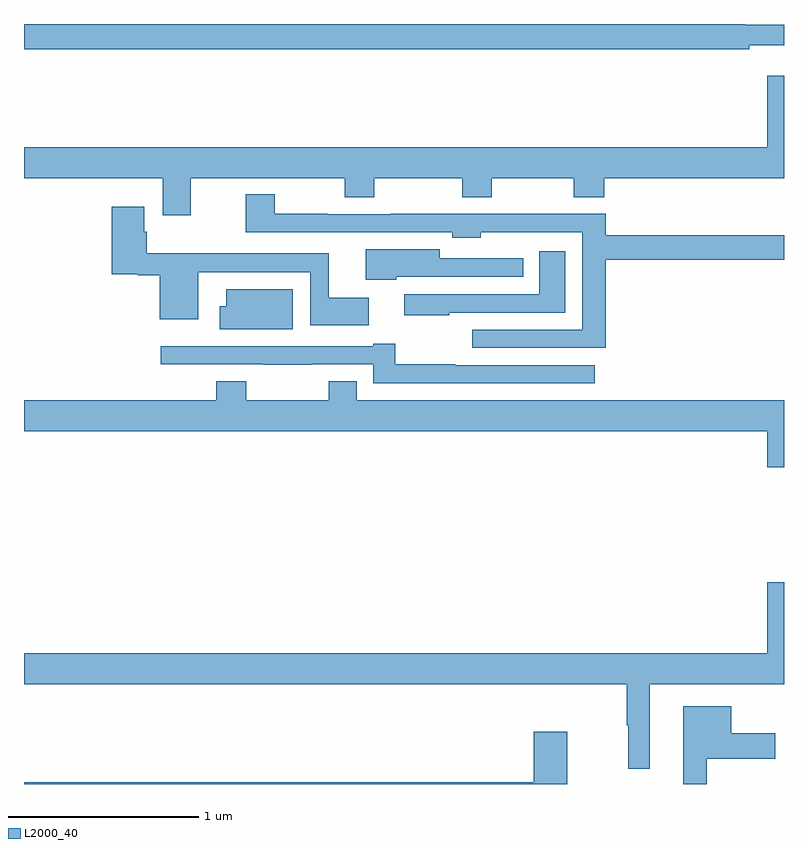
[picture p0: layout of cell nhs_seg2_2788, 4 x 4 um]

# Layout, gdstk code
import gdstk
lib = gdstk.Library(unit=1e-6, precision=1e-09)
def P(c, l, *ps):  # polygons
    for p in ps: c.add(gdstk.Polygon(p, *l))
L2000_40 = (2000, 40)

nhs_seg2_2788 = lib.new_cell('nhs_seg2_2788')
P(nhs_seg2_2788, L2000_40, [(260.816,629.687),(261,629.687),(261,629.797),(260.794,629.797),(260.794,629.8),(257,629.8),(257,629.668),(260.816,629.668)],
  [(257.877,628.988),(258.688,628.988),(258.688,628.889),(258.843,628.889),(258.843,628.988),(259.306,628.988),(259.306,628.889),(259.461,628.889),(259.461,628.988),(259.894,628.988),(259.894,628.889),(260.054,628.889),(260.054,628.988),(261,628.988),(261,629.527),(260.912,629.527),(260.912,629.152),(257,629.152),(257,628.988),(257.729,628.988),(257.729,628.794),(257.877,628.794)],
  [(260.063,628.558),(261,628.558),(261,628.687),(260.063,628.687),(260.063,628.802),(258.931,628.802),(258.931,628.8),(258.599,628.8),(258.599,628.802),(258.321,628.802),(258.321,628.903),(258.166,628.903),(258.166,628.704),(259.254,628.704),(259.254,628.676),(259.404,628.676),(259.404,628.703),(259.616,628.703),(259.616,628.704),(259.937,628.704),(259.937,628.191),(259.359,628.191),(259.359,628.095),(260.063,628.095)],
  [(258.814,628.36),(258.605,628.36),(258.605,628.594),(257.645,628.594),(257.645,628.706),(257.632,628.706),(257.632,628.837),(257.462,628.837),(257.462,628.484),(257.598,628.484),(257.598,628.477),(257.714,628.477),(257.714,628.247),(257.917,628.247),(257.917,628.493),(258.507,628.493),(258.507,628.214),(258.814,628.214)],
  [(258.96,628.47),(259.627,628.47),(259.627,628.566),(259.189,628.566),(259.189,628.615),(258.798,628.615),(258.798,628.455),(258.96,628.455)],
  [(259.237,628.281),(259.849,628.281),(259.849,628.603),(259.712,628.603),(259.712,628.377),(259.001,628.377),(259.001,628.268),(259.237,628.268)],
  [(258.415,628.405),(258.065,628.405),(258.065,628.315),(258.029,628.315),(258.029,628.193),(258.415,628.193)],
  [(260.005,628.005),(259.271,628.005),(259.271,628.01),(258.953,628.01),(258.953,628.117),(258.839,628.117),(258.839,628.104),(257.933,628.104),(257.933,628.105),(257.721,628.105),(257.721,628.008),(258.259,628.008),(258.259,628.007),(258.515,628.007),(258.515,628.008),(258.839,628.008),(258.839,627.909),(260.005,627.909)],
  [(261,627.82),(258.751,627.82),(258.751,627.919),(258.604,627.919),(258.604,627.82),(258.171,627.82),(258.171,627.919),(258.011,627.919),(258.011,627.82),(257,627.82),(257,627.656),(260.912,627.656),(260.912,627.468),(261,627.468)],
  [(260.293,626.324),(261,626.324),(261,626.863),(260.912,626.863),(260.912,626.488),(257,626.488),(257,626.324),(260.172,626.324),(260.172,626.108),(260.179,626.108),(260.179,625.88),(260.293,625.88)],
  [(260.593,625.934),(260.953,625.934),(260.953,626.068),(260.722,626.068),(260.722,626.209),(260.471,626.209),(260.471,625.8),(260.593,625.8)],
  [(259.86,626.074),(259.682,626.074),(259.682,625.808),(257,625.808),(257,625.8),(259.86,625.8)])

lib.write_gds('nhs_seg2_2788.gds')
